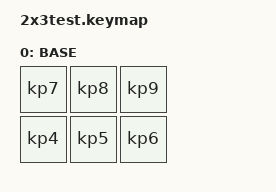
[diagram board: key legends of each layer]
#include <behaviors.dtsi>
#include <dt-bindings/zmk/keys.h>
#include <dt-bindings/zmk/bt.h>
#include <dt-bindings/zmk/outputs.h>

/ {  
    keymap {
        compatible = "zmk,keymap";

        base_layer {
            label = "BASE";

            bindings = <
                &kp KP_N7     &kp KP_N8     &kp KP_N9
                &kp KP_N4     &kp KP_N5     &kp KP_N6
            >;
        }; 
    };
};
